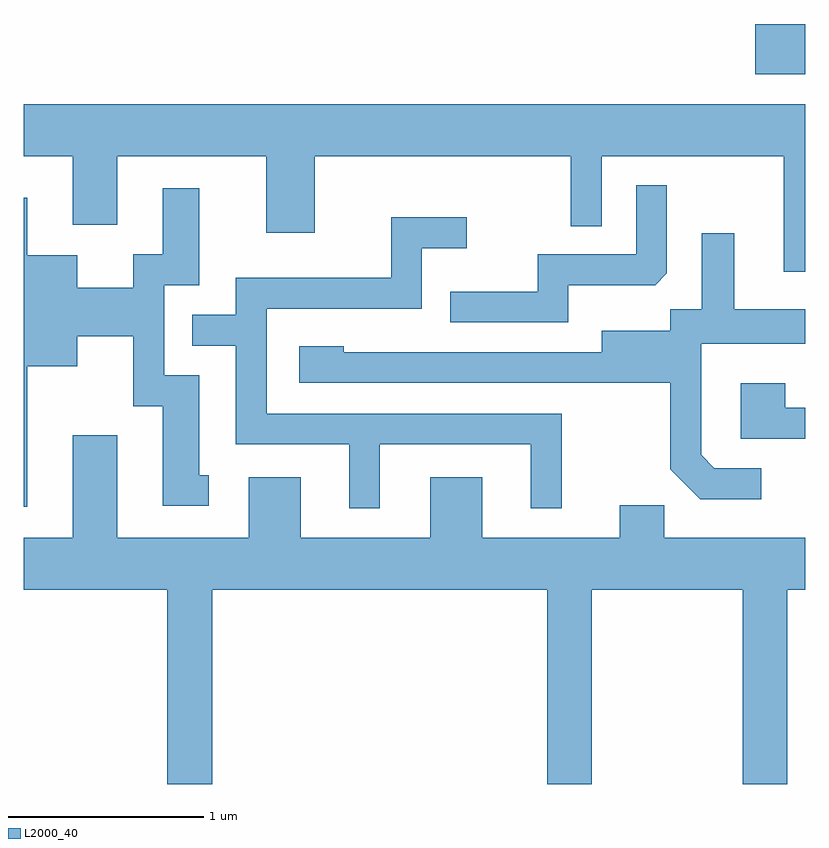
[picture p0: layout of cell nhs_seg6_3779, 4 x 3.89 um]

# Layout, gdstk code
import gdstk
lib = gdstk.Library(unit=1e-6, precision=1e-09)
def R(c, l, rs):  # rectangles x0, y0, x1, y1
    for r in rs: c.add(gdstk.rectangle(r[:2], r[2:], *l))
def P(c, l, *ps):  # polygons
    for p in ps: c.add(gdstk.Polygon(p, *l))
L2000_40 = (2000, 40)

nhs_seg6_3779 = lib.new_cell('nhs_seg6_3779')
R(nhs_seg6_3779, L2000_40, [(303.356,1543.796,303.611,1544.054)])
P(nhs_seg6_3779, L2000_40, [(303.611,1543.644),(299.611,1543.644),(299.611,1543.376),(299.861,1543.376),(299.861,1543.026),(300.089,1543.026),(300.089,1543.376),(300.851,1543.376),(300.851,1542.986),(301.099,1542.986),(301.099,1543.376),(302.411,1543.376),(302.411,1543.018),(302.569,1543.018),(302.569,1543.376),(303.501,1543.376),(303.501,1542.786),(303.611,1542.786)],
  [(302.399,1542.716),(302.844,1542.716),(302.904,1542.777),(302.904,1543.228),(302.746,1543.228),(302.746,1542.874),(302.241,1542.874),(302.241,1542.684),(301.793,1542.684),(301.793,1542.526),(302.399,1542.526)],
  [(299.629,1542.301),(299.884,1542.301),(299.884,1542.456),(300.171,1542.456),(300.171,1542.096),(300.321,1542.096),(300.321,1541.586),(300.558,1541.586),(300.558,1541.744),(300.509,1541.744),(300.509,1542.254),(300.329,1542.254),(300.329,1542.716),(300.509,1542.716),(300.509,1543.214),(300.321,1543.214),(300.321,1542.874),(300.171,1542.874),(300.171,1542.704),(299.884,1542.704),(299.884,1542.869),(299.629,1542.869),(299.629,1543.164),(299.611,1543.164),(299.611,1541.581),(299.629,1541.581)],
  [(301.434,1541.901),(302.206,1541.901),(302.206,1541.573),(302.364,1541.573),(302.364,1542.059),(300.854,1542.059),(300.854,1542.596),(301.649,1542.596),(301.649,1542.906),(301.878,1542.906),(301.878,1543.064),(301.491,1543.064),(301.491,1542.754),(300.696,1542.754),(300.696,1542.564),(300.473,1542.564),(300.473,1542.406),(300.696,1542.406),(300.696,1541.901),(301.276,1541.901),(301.276,1541.573),(301.434,1541.573)],
  [(303.388,1541.779),(303.147,1541.779),(303.079,1541.847),(303.079,1542.416),(303.611,1542.416),(303.611,1542.594),(303.249,1542.594),(303.249,1542.983),(303.081,1542.983),(303.081,1542.594),(302.921,1542.594),(302.921,1542.484),(302.571,1542.484),(302.571,1542.374),(301.249,1542.374),(301.249,1542.404),(301.021,1542.404),(301.021,1542.216),(302.921,1542.216),(302.921,1541.774),(303.074,1541.621),(303.388,1541.621)],
  [(303.611,1542.089),(303.509,1542.089),(303.509,1542.214),(303.281,1542.214),(303.281,1541.931),(303.611,1541.931)],
  [(300.574,1541.156),(302.291,1541.156),(302.291,1540.162),(302.519,1540.162),(302.519,1541.156),(303.291,1541.156),(303.291,1540.162),(303.519,1540.162),(303.519,1541.156),(303.611,1541.156),(303.611,1541.424),(302.889,1541.424),(302.889,1541.589),(302.661,1541.589),(302.661,1541.424),(301.959,1541.424),(301.959,1541.734),(301.691,1541.734),(301.691,1541.424),(301.029,1541.424),(301.029,1541.734),(300.761,1541.734),(300.761,1541.424),(300.089,1541.424),(300.089,1541.949),(299.861,1541.949),(299.861,1541.424),(299.611,1541.424),(299.611,1541.156),(300.346,1541.156),(300.346,1540.162),(300.574,1540.162)])

lib.write_gds('nhs_seg6_3779.gds')
